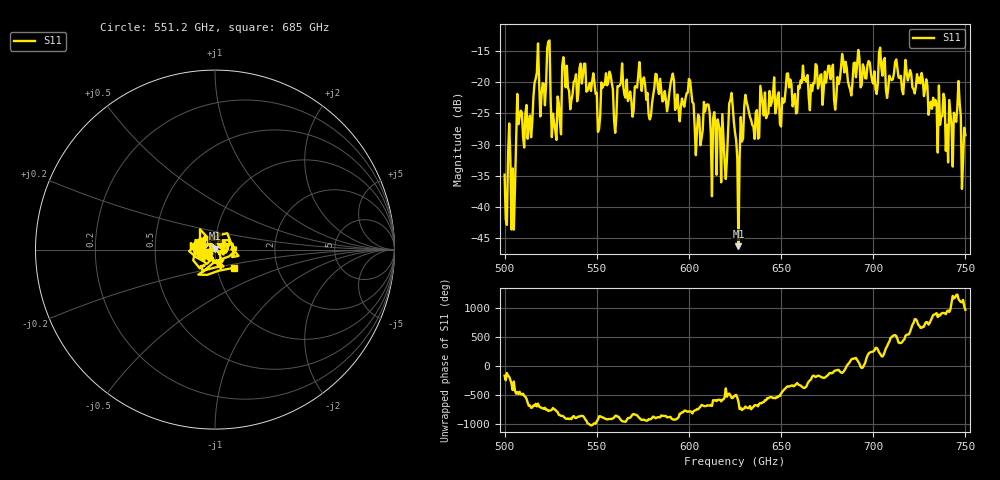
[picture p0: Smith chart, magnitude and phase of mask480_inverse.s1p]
!Created with skrf (http://scikit-rf.org).
# GHz S MA R 50.0
!freq magS11 angS11
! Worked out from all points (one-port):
!   401 points, 500 GHz to 750 GHz, reference 50 ohm
!   lowest |S11| = -46.3 dB at 626.9 GHz (marker M1), VSWR 1.01, Z = 49.9 + j0.478 ohm
!   |S11| at or under -10 dB: start of sweep to end of sweep
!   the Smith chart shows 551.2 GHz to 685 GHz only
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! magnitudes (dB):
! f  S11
! 500 GHz  -34.8
! 503.1 GHz  -32.1
! 505 GHz  -43.6
! 507.5 GHz  -26.7
! 513.8 GHz  -25.4
! 517.5 GHz  -18.5
! 520.6 GHz  -20.2
! 523.8 GHz  -13.5
! 526.9 GHz  -26.5
! 531.2 GHz  -17.4
! 542.5 GHz  -18.9
! 550.6 GHz  -28.0
! 562.5 GHz  -20.6
! 593.8 GHz  -22.0
! 600 GHz  -19.5
! 605 GHz  -25.2
! 609.4 GHz  -23.7
! 618.8 GHz  -28.8
! 622.5 GHz  -22.9
! 625 GHz  -28.1
! 626.9 GHz  -46.3
! 631.2 GHz  -23.1
! 636.9 GHz  -24.5
! 656.2 GHz  -23.9
! 687.5 GHz  -21.2
! 718.8 GHz  -19.7
! 746.2 GHz  -19.8
! 750 GHz  -28.5
